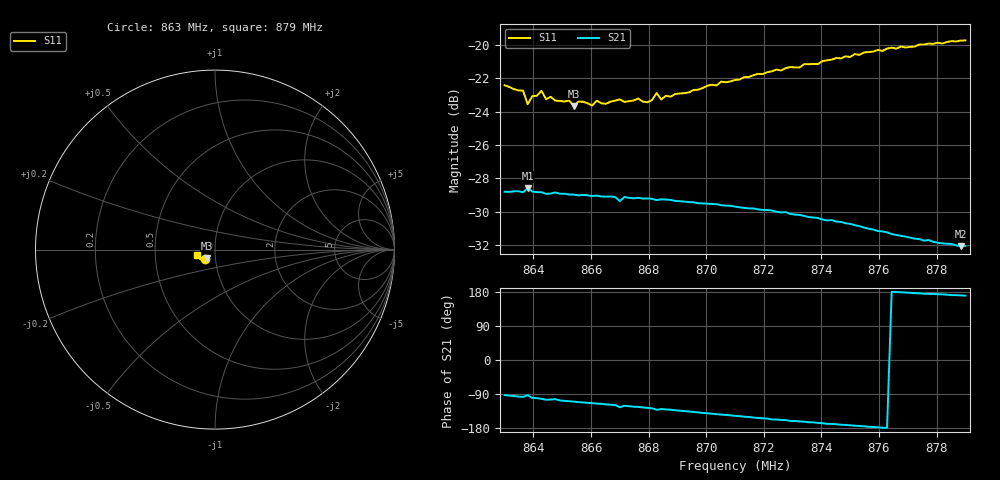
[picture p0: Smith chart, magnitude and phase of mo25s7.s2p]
# HZ S RI R 50
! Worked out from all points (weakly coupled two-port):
!   101 points, 863 MHz to 879 MHz, reference 50 ohm
!   highest |S21| = -28.58 dB at 863.8 MHz (marker M1); lowest = -32.1 dB at 878.84 MHz (marker M2)
!   lowest |S11| = -23.6 dB at 865.4 MHz (marker M3), VSWR 1.14, Z = 45.4 - j4.33 ohm
!   |S11| at or under -10 dB: start of sweep to end of sweep
!   S12 and S22 are empty: the file has one direction only
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8.63e8  -0.056 -0.051  -0.00162 -0.0363  0 0  0 0
8.6364e8  -0.054 -0.0492  -0.00472 -0.0359  0 0  0 0
8.638e8  -0.0424 -0.0512  -0.00182 -0.0372  0 0  0 0
8.6396e8  -0.0509 -0.0484  -0.00623 -0.0358  0 0  0 0
8.6428e8  -0.0533 -0.0497  -0.00779 -0.0353  0 0  0 0
8.6444e8  -0.0493 -0.048  -0.0092 -0.0346  0 0  0 0
8.6524e8  -0.0484 -0.048  -0.0115 -0.0337  0 0  0 0
8.654e8  -0.0455 -0.0474  -0.0121 -0.0335  0 0  0 0
8.6572e8  -0.0465 -0.0491  -0.0133 -0.0329  0 0  0 0
8.6604e8  -0.0447 -0.0483  -0.0144 -0.0322  0 0  0 0
8.662e8  -0.0465 -0.0497  -0.0149 -0.0321  0 0  0 0
8.6652e8  -0.0441 -0.05  -0.016 -0.0312  0 0  0 0
8.67e8  -0.0462 -0.0509  -0.0193 -0.028  0 0  0 0
8.6716e8  -0.044 -0.0512  -0.018 -0.0301  0 0  0 0
8.6796e8  -0.0424 -0.0523  -0.0206 -0.0279  0 0  0 0
8.6828e8  -0.0464 -0.0548  -0.0227 -0.0257  0 0  0 0
8.6844e8  -0.0438 -0.0528  -0.0218 -0.0267  0 0  0 0
8.71e8  -0.0513 -0.0595  -0.0276 -0.0177  0 0  0 0
8.7372e8  -0.0647 -0.0593  -0.0293 -0.00806  0 0  0 0
8.7644e8  -0.0851 -0.049  -0.0271 0.000135  0 0  0 0
8.7884e8  -0.0982 -0.0316  -0.0246 0.00414  0 0  0 0
8.79e8  -0.0987 -0.0301  -0.0246 0.00437  0 0  0 0
